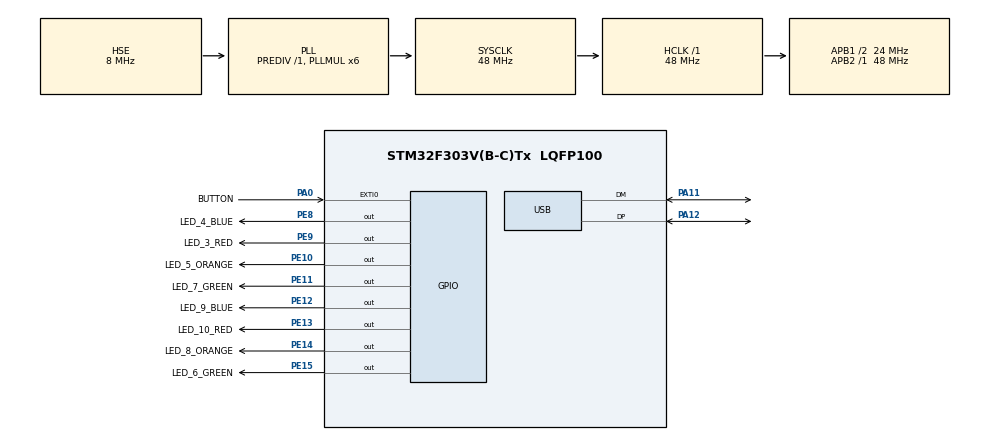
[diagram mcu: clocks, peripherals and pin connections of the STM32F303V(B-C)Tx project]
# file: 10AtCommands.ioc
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Mcu.Family=STM32F3
Mcu.Name=STM32F303V(B-C)Tx
Mcu.Package=LQFP100
NVIC.EXTI0_IRQn=true\:0\:0\:false\:false\:true\:true
NVIC.PriorityGroup=NVIC_PRIORITYGROUP_4
NVIC.TIM3_IRQn=true\:0\:0\:false\:false\:true\:true
NVIC.USB_LP_CAN_RX0_IRQn=true\:0\:0\:false\:false\:true\:false
PA0.GPIO_Label=BUTTON
PA0.GPIO_ModeDefaultEXTI=GPIO_MODE_IT_RISING
PA0.Signal=GPXTI0
PA11.Mode=Device
PA11.Signal=USB_DM
PA12.Mode=Device
PA12.Signal=USB_DP
PE10.GPIO_Label=LED_5_ORANGE
PE10.Signal=GPIO_Output
PE11.GPIO_Label=LED_7_GREEN
PE11.Signal=GPIO_Output
PE12.GPIO_Label=LED_9_BLUE
PE12.Signal=GPIO_Output
PE13.GPIO_Label=LED_10_RED
PE13.Signal=GPIO_Output
PE14.GPIO_Label=LED_8_ORANGE
PE14.Signal=GPIO_Output
PE15.GPIO_Label=LED_6_GREEN
PE15.Signal=GPIO_Output
PE8.GPIO_Label=LED_4_BLUE
PE8.Signal=GPIO_Output
PE9.GPIO_Label=LED_3_RED
PE9.Signal=GPIO_Output
PF0-OSC_IN.Mode=HSE-External-Oscillator
PF0-OSC_IN.Signal=RCC_OSC_IN
PF1-OSC_OUT.Mode=HSE-External-Oscillator
PF1-OSC_OUT.Signal=RCC_OSC_OUT
ProjectManager.HeapSize=0x200
ProjectManager.StackSize=0x400
ProjectManager.TargetToolchain=SW4STM32
RCC.AHBFreq_Value=48000000
RCC.APB1CLKDivider=RCC_HCLK_DIV2
RCC.APB1Freq_Value=24000000
RCC.APB1TimFreq_Value=48000000
RCC.APB2Freq_Value=48000000
RCC.APB2TimFreq_Value=48000000
RCC.CortexFreq_Value=48000000
RCC.HCLKFreq_Value=48000000
RCC.HSE_VALUE=8000000
RCC.HSI_VALUE=8000000
RCC.LSE_VALUE=32768
RCC.PLLMUL=RCC_PLL_MUL6
RCC.SYSCLKFreq_VALUE=48000000
RCC.SYSCLKSourceVirtual=RCC_SYSCLKSOURCE_PLLCLK
RCC.USBFreq_Value=48000000
TIM3.Period=719
TIM3.Prescaler=9999
USB_DEVICE.APP_RX_DATA_SIZE=256
USB_DEVICE.APP_TX_DATA_SIZE=256
USB_DEVICE.CLASS_NAME_FS=CDC
USB_DEVICE.VirtualMode=Cdc
USB_DEVICE.VirtualModeFS=Cdc_FS
VP_TIM3_VS_ClockSourceINT.Mode=Internal
VP_USB_DEVICE_VS_USB_DEVICE_CDC_FS.Mode=CDC_FS
board=10AtCommands

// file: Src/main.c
/**
 ******************************************************************************
 * @file           : main.c
 * @brief          : Main program body
 ******************************************************************************
 * This notice applies to any and all portions of this file
 * that are not between comment pairs USER CODE BEGIN and
 * USER CODE END. Other portions of this file, whether
 * inserted by the user or by software development tools
 * are owned by their respective copyright owners.
 *
 * Copyright (c) 2018 STMicroelectronics International N.V.
 * All rights reserved.
 *
 * Redistribution and use in source and binary forms, with or without
 * modification, are permitted, provided that the following conditions are met:
 *
 * 1. Redistribution of source code must retain the above copyright notice,
 *    this list of conditions and the following disclaimer.
 * 2. Redistributions in binary form must reproduce the above copyright notice,
 *    this list of conditions and the following disclaimer in the documentation
 *    and/or other materials provided with the distribution.
 * 3. Neither the name of STMicroelectronics nor the names of other
 *    contributors to this software may be used to endorse or promote products
 *    derived from this software without specific written permission.
 * 4. This software, including modifications and/or derivative works of this
 *    software, must execute solely and exclusively on microcontroller or
 *    microprocessor devices manufactured by or for STMicroelectronics.
 * 5. Redistribution and use of this software other than as permitted under
 *    this license is void and will automatically terminate your rights under
 *    this license.
 *
 * THIS SOFTWARE IS PROVIDED BY STMICROELECTRONICS AND CONTRIBUTORS "AS IS"
 * AND ANY EXPRESS, IMPLIED OR STATUTORY WARRANTIES, INCLUDING, BUT NOT
 * LIMITED TO, THE IMPLIED WARRANTIES OF MERCHANTABILITY, FITNESS FOR A
 * PARTICULAR PURPOSE AND NON-INFRINGEMENT OF THIRD PARTY INTELLECTUAL PROPERTY
 * RIGHTS ARE DISCLAIMED TO THE FULLEST EXTENT PERMITTED BY LAW. IN NO EVENT
 * SHALL STMICROELECTRONICS OR CONTRIBUTORS BE LIABLE FOR ANY DIRECT, INDIRECT,
 * INCIDENTAL, SPECIAL, EXEMPLARY, OR CONSEQUENTIAL DAMAGES (INCLUDING, BUT NOT
 * LIMITED TO, PROCUREMENT OF SUBSTITUTE GOODS OR SERVICES; LOSS OF USE, DATA,
 * OR PROFITS; OR BUSINESS INTERRUPTION) HOWEVER CAUSED AND ON ANY THEORY OF
 * LIABILITY, WHETHER IN CONTRACT, STRICT LIABILITY, OR TORT (INCLUDING
 * NEGLIGENCE OR OTHERWISE) ARISING IN ANY WAY OUT OF THE USE OF THIS SOFTWARE,
 * EVEN IF ADVISED OF THE POSSIBILITY OF SUCH DAMAGE.
 *
 ******************************************************************************
 */
#include "main.h"
#include "stm32f3xx_hal.h"
#include "usb_device.h"

/* USER CODE BEGIN Includes */
#include "usbd_cdc_if.h" // Plik bedacy interfejsem uzytkownika do kontrolera USB
//#include "komendy_at/komendy_at.h"
/* USER CODE END Includes */

TIM_HandleTypeDef htim3;

/* USER CODE BEGIN PV */
/* Private variables ---------------------------------------------------------*/
uint8_t DataToSend[40]; // Tablica zawierajaca dane do wyslania
uint8_t MessageCounter = 0; // Licznik wyslanych wiadomosci
uint8_t MessageLength = 0; // Zawiera dlugosc wysylanej wiadomosci

uint8_t ReceivedData[40]; // Tablica przechowujaca odebrane dane
uint8_t ReceivedDataFlag = 0; // Flaga informujaca o odebraniu danych
/* USER CODE END PV */

void SystemClock_Config(void);
static void MX_GPIO_Init(void);
static void MX_TIM3_Init(void);

/* USER CODE BEGIN PFP */
/* Private function prototypes -----------------------------------------------*/

/* USER CODE END PFP */

int main(void) {

	/* MCU Configuration----------------------------------------------------------*/

	/* Reset of all peripherals, Initializes the Flash interface and the Systick. */
	HAL_Init();

	/* Configure the system clock */
	SystemClock_Config();

	/* Initialize all configured peripherals */
	MX_GPIO_Init();
	MX_TIM3_Init();
	MX_USB_DEVICE_Init();
	/* USER CODE BEGIN 2 */
//	// rejestracja w³asnej funkcji do analizowania danych odebranych przez UART
//	register_uart_str_rx_event_callback( parse_uart_data );
	/* USER CODE END 2 */

	/* Infinite loop */
	/* USER CODE BEGIN WHILE */
	while (1) {
		if (HAL_GPIO_ReadPin(BUTTON_GPIO_Port, BUTTON_Pin) == GPIO_PIN_SET) {
			HAL_Delay(100);
			if (HAL_GPIO_ReadPin(BUTTON_GPIO_Port, BUTTON_Pin)
					== GPIO_PIN_SET) {
				++MessageCounter;
				MessageLength = sprintf(DataToSend, "Wiadomosc nr %d\n\r",
						MessageCounter);
				CDC_Transmit_FS(DataToSend, MessageLength);

			}
		}

		// Odeslanie odebranych danych przez USB
		if (ReceivedDataFlag == 1) {
			ReceivedDataFlag = 0;

			MessageLength = sprintf(DataToSend, "Odebrano: %s\n\r",
					ReceivedData);
			//CDC_Transmit_FS(DataToSend, MessageLength);
			parse_uart_data(ReceivedData);
		}
		/* USER CODE END WHILE */

	}

}

void SystemClock_Config(void) {

	RCC_OscInitTypeDef RCC_OscInitStruct;
	RCC_ClkInitTypeDef RCC_ClkInitStruct;
	RCC_PeriphCLKInitTypeDef PeriphClkInit;

	/**Initializes the CPU, AHB and APB busses clocks
	 */
	RCC_OscInitStruct.OscillatorType = RCC_OSCILLATORTYPE_HSE;
	RCC_OscInitStruct.HSEState = RCC_HSE_ON;
	RCC_OscInitStruct.HSEPredivValue = RCC_HSE_PREDIV_DIV1;
	RCC_OscInitStruct.HSIState = RCC_HSI_ON;
	RCC_OscInitStruct.PLL.PLLState = RCC_PLL_ON;
	RCC_OscInitStruct.PLL.PLLSource = RCC_PLLSOURCE_HSE;
	RCC_OscInitStruct.PLL.PLLMUL = RCC_PLL_MUL6;
	if (HAL_RCC_OscConfig(&RCC_OscInitStruct) != HAL_OK) {
		_Error_Handler(__FILE__, __LINE__);
	}

	/**Initializes the CPU, AHB and APB busses clocks
	 */
	RCC_ClkInitStruct.ClockType = RCC_CLOCKTYPE_HCLK | RCC_CLOCKTYPE_SYSCLK
			| RCC_CLOCKTYPE_PCLK1 | RCC_CLOCKTYPE_PCLK2;
	RCC_ClkInitStruct.SYSCLKSource = RCC_SYSCLKSOURCE_PLLCLK;
	RCC_ClkInitStruct.AHBCLKDivider = RCC_SYSCLK_DIV1;
	RCC_ClkInitStruct.APB1CLKDivider = RCC_HCLK_DIV2;
	RCC_ClkInitStruct.APB2CLKDivider = RCC_HCLK_DIV1;

	if (HAL_RCC_ClockConfig(&RCC_ClkInitStruct, FLASH_LATENCY_1) != HAL_OK) {
		_Error_Handler(__FILE__, __LINE__);
	}

	PeriphClkInit.PeriphClockSelection = RCC_PERIPHCLK_USB;
	PeriphClkInit.USBClockSelection = RCC_USBCLKSOURCE_PLL;
	if (HAL_RCCEx_PeriphCLKConfig(&PeriphClkInit) != HAL_OK) {
		_Error_Handler(__FILE__, __LINE__);
	}

	/**Configure the Systick interrupt time
	 */
	HAL_SYSTICK_Config(HAL_RCC_GetHCLKFreq() / 1000);

	/**Configure the Systick
	 */
	HAL_SYSTICK_CLKSourceConfig(SYSTICK_CLKSOURCE_HCLK);

	/* SysTick_IRQn interrupt configuration */
	HAL_NVIC_SetPriority(SysTick_IRQn, 0, 0);
}

/* TIM3 init function */
static void MX_TIM3_Init(void) {

	TIM_ClockConfigTypeDef sClockSourceConfig;
	TIM_MasterConfigTypeDef sMasterConfig;

	htim3.Instance = TIM3;
	htim3.Init.Prescaler = 9999;
	htim3.Init.CounterMode = TIM_COUNTERMODE_UP;
	htim3.Init.Period = 719;
	htim3.Init.ClockDivision = TIM_CLOCKDIVISION_DIV1;
	htim3.Init.AutoReloadPreload = TIM_AUTORELOAD_PRELOAD_DISABLE;
	if (HAL_TIM_Base_Init(&htim3) != HAL_OK) {
		_Error_Handler(__FILE__, __LINE__);
	}

	sClockSourceConfig.ClockSource = TIM_CLOCKSOURCE_INTERNAL;
	if (HAL_TIM_ConfigClockSource(&htim3, &sClockSourceConfig) != HAL_OK) {
		_Error_Handler(__FILE__, __LINE__);
	}

	sMasterConfig.MasterOutputTrigger = TIM_TRGO_RESET;
	sMasterConfig.MasterSlaveMode = TIM_MASTERSLAVEMODE_DISABLE;
	if (HAL_TIMEx_MasterConfigSynchronization(&htim3, &sMasterConfig)
			!= HAL_OK) {
		_Error_Handler(__FILE__, __LINE__);
	}

}

/** Configure pins as
 * Analog
 * Input
 * Output
 * EVENT_OUT
 * EXTI
 */
static void MX_GPIO_Init(void) {

	GPIO_InitTypeDef GPIO_InitStruct;

	/* GPIO Ports Clock Enable */
	__HAL_RCC_GPIOF_CLK_ENABLE()
	;
	__HAL_RCC_GPIOA_CLK_ENABLE()
	;
	__HAL_RCC_GPIOE_CLK_ENABLE()
	;

	/*Configure GPIO pin Output Level */
	HAL_GPIO_WritePin(GPIOE,
			LED_4_BLUE_Pin | LED_3_RED_Pin | LED_5_ORANGE_Pin | LED_7_GREEN_Pin
					| LED_9_BLUE_Pin | LED_10_RED_Pin | LED_8_ORANGE_Pin
					| LED_6_GREEN_Pin, GPIO_PIN_RESET);

	/*Configure GPIO pin : BUTTON_Pin */
	GPIO_InitStruct.Pin = BUTTON_Pin;
	GPIO_InitStruct.Mode = GPIO_MODE_IT_RISING;
	GPIO_InitStruct.Pull = GPIO_NOPULL;
	HAL_GPIO_Init(BUTTON_GPIO_Port, &GPIO_InitStruct);

	/*Configure GPIO pins : LED_4_BLUE_Pin LED_3_RED_Pin LED_5_ORANGE_Pin LED_7_GREEN_Pin
	 LED_9_BLUE_Pin LED_10_RED_Pin LED_8_ORANGE_Pin LED_6_GREEN_Pin */
	GPIO_InitStruct.Pin = LED_4_BLUE_Pin | LED_3_RED_Pin | LED_5_ORANGE_Pin
			| LED_7_GREEN_Pin | LED_9_BLUE_Pin | LED_10_RED_Pin
			| LED_8_ORANGE_Pin | LED_6_GREEN_Pin;
	GPIO_InitStruct.Mode = GPIO_MODE_OUTPUT_PP;
	GPIO_InitStruct.Pull = GPIO_NOPULL;
	GPIO_InitStruct.Speed = GPIO_SPEED_FREQ_LOW;
	HAL_GPIO_Init(GPIOE, &GPIO_InitStruct);

	/* EXTI interrupt init*/
	HAL_NVIC_SetPriority(EXTI0_IRQn, 0, 0);
	HAL_NVIC_EnableIRQ(EXTI0_IRQn);

}

void _Error_Handler(char *file, int line) {
	while (1) {
	}
}

/************************ (C) COPYRIGHT STMicroelectronics *****END OF FILE****/
